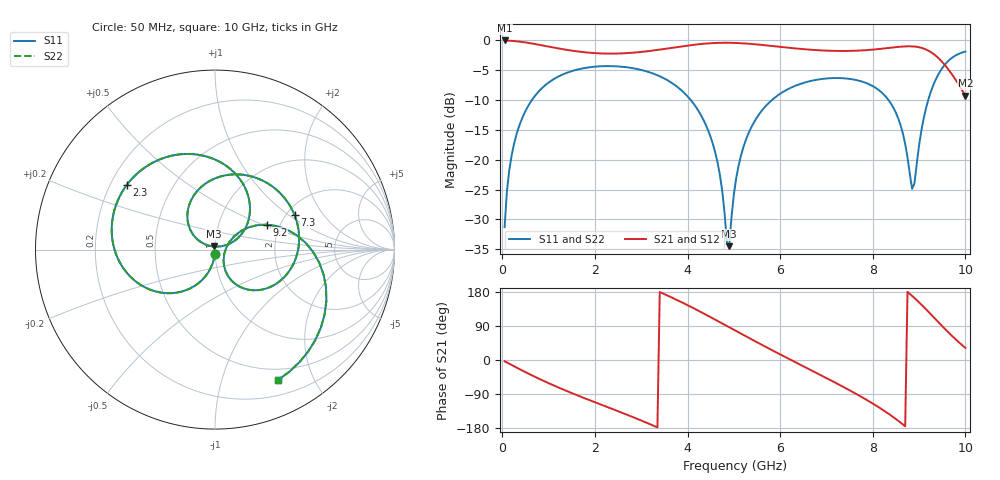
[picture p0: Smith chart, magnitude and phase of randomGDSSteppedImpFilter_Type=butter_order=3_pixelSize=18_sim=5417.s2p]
! freq	dB(S11)	phase(S11)	dB(S12)	phase(S12)
!  dB(S21)	phase(S21)	dB(S22)	phase(S22)
!S-par simulation data
#  GHz  S  DB  R 50
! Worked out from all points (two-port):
!   200 points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, 50 MHz to 10 GHz, reference 50 ohm
!   highest |S21| = -0.01 dB at 50 MHz (marker M1); lowest = -9.3 dB at 10 GHz (marker M2)
!   |S21| within 3 dB of the highest: start of sweep to 9.423 GHz
!   lowest |S11| = -34.5 dB at 4.9 GHz (marker M3), VSWR 1.04, Z = 49.2 + j1.72 ohm
!   |S11| at or under -10 dB: start of sweep to 639.4 MHz; 4.07 GHz to 5.821 GHz (1.751 GHz wide, 35.4 % of centre); 8.341 GHz to 9.197 GHz (856.3 MHz wide, 9.77 % of centre)
!   |S22| runs from -34.5 to -1.9 dB; largest |S21 - S12| = 0
!   S11 on the Smith chart (normalised r, x): 50 MHz: 1.00, -0.05; 2.3 GHz: 0.27, +0.30; 7.3 GHz: 2.22, +1.11; 9.2 GHz: 1.70, +0.53; 10 GHz: 0.37, -1.54
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0.05  -31.29 -93.4  -0.01 -3.3  -0.01 -3.3  -31.29 -93.4
0.2  -19.35 -103.4  -0.07 -13.1  -0.07 -13.1  -19.35 -103.4
0.5  -11.84 -122.5  -0.34 -32.0  -0.34 -32.0  -11.84 -122.5
1.05  -6.79 -154.4  -1.11 -63.9  -1.11 -63.9  -6.79 -154.4
1.75  -4.67 170.0  -1.96 -99.5  -1.96 -99.5  -4.67 170.0
2.3  -4.30 144.0  -2.21 -125.6  -2.21 -125.6  -4.30 144.0
3.4  -6.01 89.7  -1.54 179.4  -1.54 179.4  -6.01 89.7
4.45  -15.17 30.7  -0.50 116.2  -0.50 116.2  -15.17 30.7
4.7  -22.59 21.8  -0.41 99.7  -0.41 99.7  -22.59 21.8
4.9  -34.47 112.8  -0.40 86.4  -0.40 86.4  -34.50 113.0
5.05  -23.12 152.3  -0.43 76.5  -0.43 76.5  -23.12 152.3
5.35  -14.99 141.0  -0.57 56.6  -0.57 56.6  -14.99 141.0
5.85  -9.80 111.4  -0.95 24.3  -0.95 24.3  -9.80 111.5
6.7  -6.73 60.0  -1.59 -28.9  -1.59 -28.9  -6.73 60.0
7.3  -6.32 23.3  -1.77 -66.8  -1.77 -66.8  -6.32 23.3
7.85  -7.12 -12.0  -1.64 -104.0  -1.64 -104.0  -7.12 -12.0
8.35  -10.09 -46.4  -1.26 -142.6  -1.26 -142.6  -10.09 -46.5
8.65  -15.59 -63.7  -1.02 -170.0  -1.02 -170.0  -15.60 -63.8
8.85  -24.88 -25.5  -1.00 169.2  -1.00 169.2  -24.95 -25.7
9.2  -9.91 25.8  -1.71 127.5  -1.71 127.5  -9.91 25.8
9.6  -3.68 -19.0  -4.54 76.9  -4.54 76.9  -3.69 -19.0
10  -1.87 -64.0  -9.26 31.8  -9.26 31.8  -1.87 -64.0
